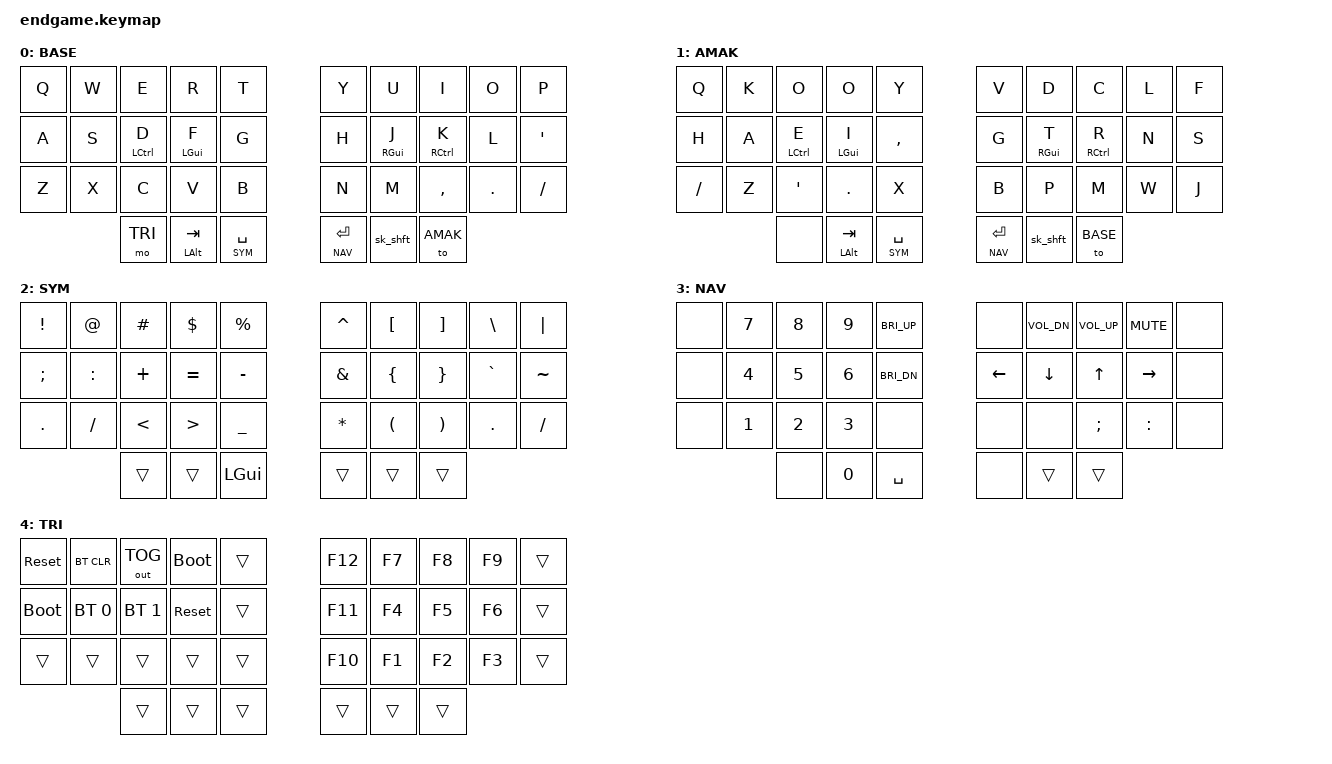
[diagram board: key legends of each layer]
#include "./helper_keypos_36keys.h"
#include <behaviors.dtsi>
#include <dt-bindings/zmk/bt.h>
#include <dt-bindings/zmk/keys.h>
#include <dt-bindings/zmk/outputs.h>

#define BASE 0
#define AMAK  1
#define SYM  2
#define NAV  3
#define TRI  4
#define KEYS_L LT0 LT1 LT2 LT3 LT4 LM0 LM1 LM2 LM3 LM4 LB0 LB1 LB2 LB3 LB4  // left-hand keys
#define KEYS_R RT0 RT1 RT2 RT3 RT4 RM0 RM1 RM2 RM3 RM4 RB0 RB1 RB2 RB3 RB4  // right-hand keys
#define THUMBS LH2 LH1 LH0 RH0 RH1 RH2

&lt {
    tapping-term-ms = <150>;
};

&sk {
    quick-release;
};

/ {
    behaviors {
        hml: home_row_mods_left {
            compatible = "zmk,behavior-hold-tap";
            #binding-cells = <2>;
            flavor = "balanced";
            tapping-term-ms = <280>;
            quick-tap-ms = <210>;                // repeat on tap-into-hold
            require-prior-idle-ms = <150>;
            bindings = <&kp>, <&kp>;

            hold-trigger-key-positions = <KEYS_R THUMBS>;
            hold-trigger-on-release;             // delay positional check until key-release
        };

        hmr: home_row_mods_right {
            compatible = "zmk,behavior-hold-tap";
            #binding-cells = <2>;
            flavor = "balanced";
            tapping-term-ms = <280>;
            quick-tap-ms = <210>;                // repeat on tap-into-hold
            require-prior-idle-ms = <150>;
            bindings = <&kp>, <&kp>;

            hold-trigger-key-positions = <KEYS_L THUMBS>;
            hold-trigger-on-release;
        };

        sk_shft: sticky_shift_caps_word {
            compatible = "zmk,behavior-mod-morph";
            #binding-cells = <0>;
            bindings = <&sk RSHIFT>, <&caps_word>;

            mods = <(MOD_LSFT | MOD_RSFT)>;
        };

    };

    combos {
        compatible = "zmk,combos";

        combo_esc {
            timeout-ms = <50>;
            key-positions = <LT3 LT2>;
            bindings = <&kp ESC>;
        };

        combo_bksp {
            timeout-ms = <50>;
            key-positions = <RT3 RT2>;
            bindings = <&kp BSPC>;
        };
    };

    conditional_layers {
        compatible = "zmk,conditional-layers";

        tri_layer {
            if-layers = <SYM NAV>;
            then-layer = <TRI>;
        };
    };

    keymap {
        compatible = "zmk,keymap";

        base_layer {
            label = "BASE";
            bindings = <
         &kp Q  &kp W  &kp E          &kp R          &kp T              &kp Y         &kp U        &kp I         &kp O    &kp P
         &kp A  &kp S  &hml LCTRL D   &hml LGUI F    &kp G              &kp H         &hmr RGUI J  &hmr RCTRL K  &kp L    &kp SQT
         &kp Z  &kp X  &kp C          &kp V          &kp B              &kp N         &kp M        &kp COMMA     &kp DOT  &kp FSLH
         &mo TRI                      &hml LALT TAB  &lt SYM SPACE      &lt NAV RET   &sk_shft                            &to AMAK
        >;
        };

        anymak_end {
            label = "AMAK";
            bindings = <
         &kp Q     &kp K  &kp O        &kp O          &kp Y           &kp V         &kp D        &kp C        &kp L  &kp F
         &kp H     &kp A  &hml LCTRL E &hml LGUI I    &kp COMMA       &kp G         &hmr RGUI T  &hmr RCTRL R &kp N  &kp S
         &kp FSLH  &kp Z  &kp SQT      &kp DOT        &kp X           &kp B         &kp P        &kp M        &kp W  &kp J
         &none                        &hml LALT TAB  &lt SYM SPACE   &lt NAV RET   &sk_shft                          &to BASE
            >;
        };

        sym_layer {
            label = "SYM";
            bindings = <
         &kp EXCL  &kp AT     &kp HASH  &kp DLLR   &kp PRCNT           &kp CARET  &kp LBKT  &kp RBKT  &kp BSLH   &kp PIPE
         &kp SEMI  &kp COLON  &kp PLUS  &kp EQUAL  &kp MINUS           &kp AMPS   &kp LBRC  &kp RBRC  &kp GRAVE  &kp TILDE
         &kp DOT   &kp FSLH   &kp LT    &kp GT     &kp UNDER           &kp STAR   &kp LPAR  &kp RPAR  &kp DOT    &kp FSLH  
         &trans                         &trans     &kp LGUI            &trans     &trans                         &trans
        >;
        };

        nav_layer {
            label = "NAV";
            bindings = <
         &none  &kp N7  &kp N8  &kp N9  &kp C_BRI_UP                &none     &kp C_VOL_DN  &kp C_VOL_UP  &kp C_MUTE  &none
         &none  &kp N4  &kp N5  &kp N6  &kp C_BRI_DN                &kp LEFT  &kp DOWN      &kp UP        &kp RIGHT   &none
         &none  &kp N1  &kp N2  &kp N3  &none                       &none     &none         &kp SEMI      &kp COLON   &none
         &none                  &kp N0  &kp SPACE                   &none     &trans                                  &trans
            >;
        };

        adjust_layer {
            label = "TRI";
            bindings = <
         &sys_reset   &bt BT_CLR    &out OUT_TOG  &bootloader         &trans    &kp F12  &kp F7  &kp F8  &kp F9  &trans
         &bootloader  &bt BT_SEL 0  &bt BT_SEL 1  &sys_reset          &trans    &kp F11  &kp F4  &kp F5  &kp F6  &trans
         &trans       &trans        &trans        &trans              &trans    &kp F10  &kp F1  &kp F2  &kp F3  &trans
         &trans                                   &trans              &trans    &trans    &trans                  &trans
            >;
        };

    };
};
